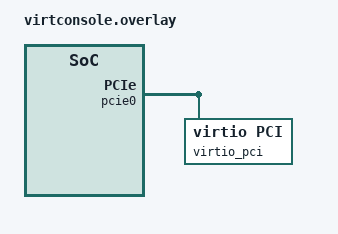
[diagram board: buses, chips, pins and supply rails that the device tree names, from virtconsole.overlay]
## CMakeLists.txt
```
# SPDX-License-Identifier: Apache-2.0

cmake_minimum_required(VERSION 3.28.0)
find_package(Zephyr REQUIRED HINTS $ENV{ZEPHYR_BASE})
project(echo)

target_sources(app PRIVATE src/main.c)
```

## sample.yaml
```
sample:
  name: echo Sample
tests:
  sample.console.echo:
    integration_platforms:
      - mps2/an385
    filter: CONFIG_UART_CONSOLE and CONFIG_SERIAL_SUPPORT_INTERRUPT
    tags: console
    harness: keyboard
```

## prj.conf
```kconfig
CONFIG_CONSOLE_SUBSYS=y
CONFIG_CONSOLE_GETCHAR=y
CONFIG_CONSOLE_GETCHAR_BUFSIZE=64
CONFIG_CONSOLE_PUTCHAR_BUFSIZE=512
```

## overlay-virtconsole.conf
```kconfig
# Copyright (c) 2025 Antmicro <www.antmicro.com>
# SPDX-License-Identifier: Apache-2.0

CONFIG_VIRTIO=y
CONFIG_PCIE=y
```

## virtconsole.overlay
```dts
/*
 * Copyright (c) 2025 Antmicro <www.antmicro.com>
 *
 * SPDX-License-Identifier: Apache-2.0
 */

/ {
	chosen {
		zephyr,console = &virtio_console;
	};
};

&pcie0 {
	virtio_pci: virtio_pci {
		compatible = "virtio,pci";

		vendor-id = <0x1af4>;
		device-id = <0x1003>;

		interrupts = <0xb 0x0 0x0>;
		interrupt-parent = <&intc>;

		virtio_console: virtio_console {
			compatible = "virtio,console";
			status = "okay";
		};
	};
};
```

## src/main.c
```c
/*
 * Copyright (c) 2017 Linaro Limited
 *
 * SPDX-License-Identifier: Apache-2.0
 */
#include <zephyr/kernel.h>
#include <zephyr/console/console.h>

static const char prompt[] = "Start typing characters to see them echoed back\r\n";

int main(void)
{
	console_init();

	printk("You should see another line with instructions below. If not,\n");
	printk("the (interrupt-driven) console device doesn't work as expected:\n");
	console_write(NULL, prompt, sizeof(prompt) - 1);

	while (1) {
		uint8_t c = console_getchar();

		console_putchar(c);
		if (c == '\r') {
			console_putchar('\n');
		}
	}
	return 0;
}
```
